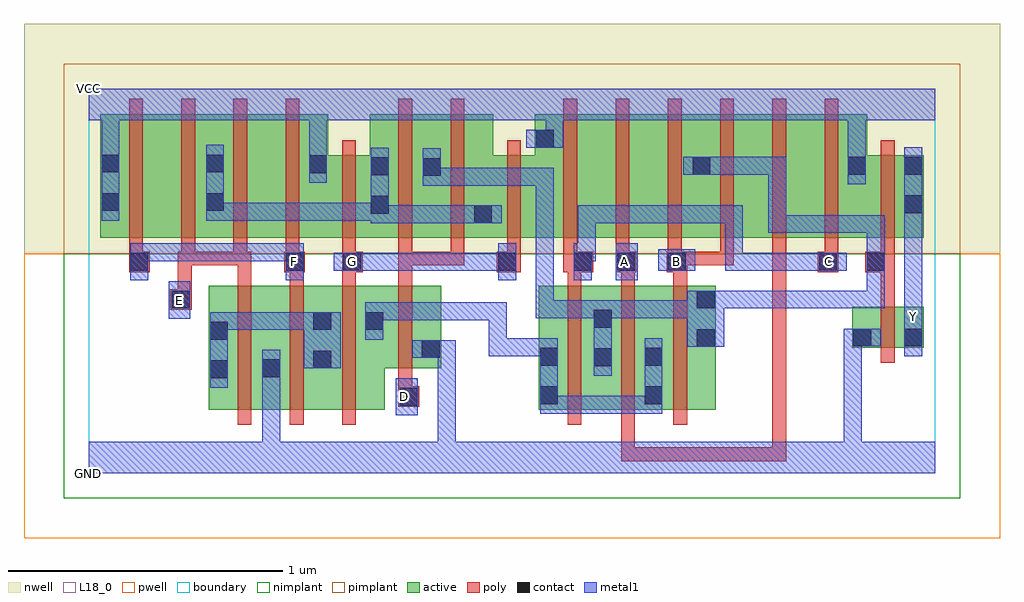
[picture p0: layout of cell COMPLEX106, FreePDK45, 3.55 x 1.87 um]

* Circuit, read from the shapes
.subckt COMPLEX106 A B C D E F G GND VCC Y
M1 GND E n1 VSUBS nfet w=0.45u l=0.05u
M2 n1 F GND VSUBS nfet w=0.45u l=0.05u
M3 n2 G n1 VSUBS nfet w=0.45u l=0.05u
M4 GND D n2 VSUBS nfet w=0.3u l=0.05u
M5 n3 C n2 VSUBS nfet w=0.45u l=0.05u
M6 n2 A n3 VSUBS nfet w=0.45u l=0.05u
M7 n3 B n2 VSUBS nfet w=0.45u l=0.05u
M8 Y n3 GND VSUBS nfet w=0.15u l=0.05u
M9 n4 F VCC n5 pfet w=0.45u l=0.05u
M10 n6 E n4 n5 pfet w=0.45u l=0.05u
M11 n7 E n6 n5 pfet w=0.45u l=0.05u
M12 VCC F n7 n5 pfet w=0.45u l=0.05u
M13 n6 G VCC n5 pfet w=0.3u l=0.05u m=2
M14 n3 D n6 n5 pfet w=0.45u l=0.05u m=2
M15 n8 C VCC n5 pfet w=0.45u l=0.05u
M16 n9 A n8 n5 pfet w=0.45u l=0.05u
M17 n3 B n9 n5 pfet w=0.45u l=0.05u
M18 n10 B n3 n5 pfet w=0.45u l=0.05u
M19 n11 A n10 n5 pfet w=0.45u l=0.05u
M20 VCC C n11 n5 pfet w=0.45u l=0.05u
M21 Y n3 VCC n5 pfet w=0.3u l=0.05u
.ends

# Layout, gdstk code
import gdstk
lib = gdstk.Library(unit=1e-6, precision=1e-09)
def R(c, l, rs):  # rectangles x0, y0, x1, y1
    for r in rs: c.add(gdstk.rectangle(r[:2], r[2:], *l))
def A(c, l, x, y, w, h, nx, ny, dx, dy):  # array of equal rectangles
    R(c, l, [(x+i*dx, y+j*dy, x+i*dx+w, y+j*dy+h) for i in range(nx) for j in range(ny)])
active = (1, 0)
pwell = (2, 0)
nwell = (3, 0)
nimplant = (4, 0)
pimplant = (5, 0)
poly = (9, 0)
contact = (10, 0)
metal1 = (11, 0)
L18_0 = (18, 0)
boundary = (235, 0)

complex106 = lib.new_cell('COMPLEX106')
R(complex106, active, [(0.437,0.232,0.512,0.682), (0.437,0.232,0.702,0.682), (0.627,0.232,0.887,0.682), (0.812,0.232,0.887,0.682), (0.812,0.232,1.077,0.682), (1.002,0.232,1.077,0.682), (1.637,0.232,1.712,0.682), (1.637,0.232,1.907,0.682), (1.832,0.232,2.092,0.682), (2.017,0.232,2.282,0.682), (2.017,0.232,2.092,0.547), (2.207,0.232,2.282,0.682), (0.627,0.257,0.702,0.542), (1.832,0.295,1.907,0.682), (1.002,0.382,1.282,0.682), (1.207,0.382,1.282,0.625), (2.777,0.457,2.852,0.607), (2.777,0.457,3.037,0.607), (2.962,0.457,3.037,0.607), (0.042,0.857,0.117,1.307), (0.042,0.857,0.267,1.307), (0.267,0.857,0.497,1.307), (0.422,0.857,0.647,1.307), (0.422,0.857,0.497,1.2), (0.647,0.857,0.872,1.307), (0.797,0.857,1.097,1.157), (1.022,0.857,1.097,1.2), (1.022,0.857,1.285,1.307), (1.21,0.857,1.285,1.2), (1.21,0.857,1.472,1.307), (1.397,0.857,1.697,1.157), (1.622,0.857,1.847,1.307), (1.847,0.857,2.037,1.307), (2.037,0.857,2.267,1.307), (2.192,0.857,2.417,1.307), (2.192,0.857,2.267,1.2), (2.417,0.857,2.607,1.307), (2.607,0.857,2.832,1.307), (2.757,0.857,3.037,1.157), (2.962,0.857,3.037,1.157), (1.397,0.905,1.472,1.07), (1.622,0.995,1.697,1.307), (0.797,1.007,0.872,1.307), (2.757,1.007,2.832,1.157)])
R(complex106, pwell, [(-0.235,-0.235,3.315,0.8)])
R(complex106, nwell, [(-0.235,0.8,3.315,1.635)])
R(complex106, nimplant, [(-0.09,-0.09,3.17,0.8)])
R(complex106, pimplant, [(-0.09,0.8,3.17,1.49)])
A(complex106, poly, 0.542, 0.177, 0.05, 0.56, 3, 1, 0.19, 0)
A(complex106, poly, 0.147, 0.757, 0.05, 0.095, 4, 1, 0.19, 0)
A(complex106, poly, 1.317, 0.757, 0.05, 0.095, 3, 1, 0.205, 0)
A(complex106, poly, 1.917, 0.757, 0.05, 0.095, 3, 1, 0.19, 0)
A(complex106, poly, 0.147, 0.802, 0.05, 0.56, 4, 1, 0.19, 0)
A(complex106, poly, 1.727, 0.802, 0.05, 0.56, 6, 1, 0.19, 0)
R(complex106, poly, [(1.937,0.045,1.987,0.095), (1.937,0.045,1.987,0.095), (1.937,0.045,1.987,0.095), (1.937,0.045,2.12,0.095), (1.937,0.045,1.987,0.227), (2.07,0.045,2.12,0.095), (2.07,0.045,2.405,0.095), (2.355,0.045,2.405,0.095), (2.355,0.045,2.405,0.095), (2.355,0.045,2.405,0.095), (2.355,0.045,2.405,0.095), (2.355,0.045,2.405,0.095), (2.355,0.045,2.537,0.095), (2.487,0.045,2.537,0.852), (2.487,0.045,2.537,0.095), (2.487,0.045,2.537,0.095), (2.487,0.045,2.537,0.095), (2.487,0.045,2.537,0.095), (2.487,0.045,2.537,0.095), (2.487,0.045,2.537,0.095), (2.487,0.045,2.537,0.095), (2.487,0.045,2.537,0.095), (2.487,0.045,2.537,0.095), (2.487,0.045,2.537,0.095), (2.487,0.045,2.537,0.095), (1.742,0.177,1.792,0.737), (1.937,0.177,1.987,0.737), (2.127,0.177,2.177,0.737), (1.127,0.242,1.202,0.317), (1.127,0.267,1.177,0.377), (1.127,0.327,1.177,0.737), (2.882,0.402,2.932,0.662), (0.297,0.595,0.375,0.67), (2.882,0.612,2.932,0.782), (0.325,0.62,0.375,0.807), (0.542,0.687,0.592,0.807), (0.732,0.687,0.782,0.782), (0.922,0.687,0.972,0.782), (1.127,0.687,1.177,0.807), (1.742,0.687,1.792,0.782), (1.937,0.687,1.987,0.782), (2.127,0.687,2.177,0.782), (0.147,0.732,0.222,0.807), (0.712,0.732,0.787,0.807), (0.922,0.732,0.997,0.807), (1.485,0.732,1.572,0.807), (1.727,0.732,1.835,0.807), (1.917,0.732,1.992,0.807), (2.102,0.732,2.177,0.807), (2.652,0.732,2.727,0.807), (2.825,0.732,2.932,0.807), (0.325,0.757,0.387,0.807), (0.337,0.757,0.387,0.807), (0.337,0.757,0.387,0.807), (0.337,0.757,0.387,0.807), (0.337,0.757,0.387,0.807), (0.337,0.757,0.577,0.807), (0.527,0.757,0.592,0.807), (0.922,0.757,0.972,0.852), (1.127,0.757,1.177,0.852), (1.127,0.757,1.177,0.807), (1.127,0.757,1.177,0.807), (1.127,0.757,1.177,0.807), (1.127,0.757,1.367,0.807), (1.317,0.757,1.367,0.807), (2.127,0.757,2.177,0.807), (2.127,0.757,2.177,0.807), (2.127,0.757,2.347,0.807), (2.297,0.757,2.347,0.807), (2.677,0.757,2.727,0.852), (2.882,0.757,2.932,0.852), (0.922,0.802,0.972,1.212), (1.127,0.802,1.177,1.362), (1.317,0.802,1.367,1.362), (1.522,0.802,1.572,1.212), (2.882,0.802,2.932,1.212)])
R(complex106, contact, [(1.132,0.247,1.197,0.312), (1.642,0.252,1.707,0.317), (2.022,0.252,2.087,0.317), (0.442,0.347,0.507,0.412), (0.632,0.35,0.697,0.415), (0.817,0.382,0.882,0.447), (1.837,0.39,1.902,0.455), (1.642,0.392,1.707,0.457), (2.022,0.392,2.087,0.457), (1.212,0.42,1.277,0.485), (2.212,0.46,2.277,0.525), (2.782,0.462,2.847,0.527), (2.967,0.462,3.032,0.527), (0.442,0.487,0.507,0.552), (0.817,0.522,0.882,0.587), (1.007,0.522,1.072,0.587), (1.837,0.53,1.902,0.595), (0.302,0.6,0.367,0.665), (2.212,0.6,2.277,0.665), (0.152,0.737,0.217,0.802), (0.717,0.737,0.782,0.802), (0.927,0.737,0.992,0.802), (1.49,0.737,1.555,0.802), (1.765,0.737,1.83,0.802), (1.922,0.737,1.987,0.802), (2.107,0.737,2.172,0.802), (2.657,0.737,2.722,0.802), (2.83,0.737,2.895,0.802), (1.402,0.91,1.467,0.975), (1.027,0.945,1.092,1.01), (2.967,0.947,3.032,1.012), (0.047,0.955,0.112,1.02), (0.427,0.955,0.492,1.02), (1.215,1.082,1.28,1.147), (1.027,1.085,1.092,1.15), (2.197,1.087,2.262,1.152), (2.762,1.087,2.827,1.152), (2.967,1.087,3.032,1.152), (0.802,1.092,0.867,1.157), (0.047,1.095,0.112,1.16), (0.427,1.095,0.492,1.16), (1.627,1.185,1.692,1.25)])
R(complex106, metal1, [(0,0,3.08,0.115), (0.632,0.05,0.697,0.38), (1.27,0.05,1.335,0.115), (1.27,0.05,1.335,0.115), (1.27,0.05,1.335,0.115), (1.27,0.05,1.335,0.115), (1.27,0.05,1.335,0.115), (1.27,0.05,1.335,0.115), (1.27,0.05,1.335,0.485), (2.747,0.05,2.812,0.115), (2.747,0.05,2.812,0.115), (2.747,0.05,2.812,0.527), (1.117,0.212,1.197,0.347), (1.642,0.217,1.707,0.492), (1.642,0.217,1.845,0.282), (1.78,0.217,1.845,0.282), (1.78,0.217,1.845,0.282), (1.78,0.217,1.845,0.282), (1.78,0.217,1.982,0.282), (1.917,0.217,1.982,0.282), (1.917,0.217,2.087,0.282), (2.022,0.217,2.087,0.492), (0.442,0.312,0.507,0.587), (0.632,0.315,0.697,0.45), (0.632,0.315,0.697,0.38), (0.632,0.315,0.697,0.38), (0.632,0.315,0.697,0.38), (0.632,0.315,0.697,0.38), (1.837,0.355,1.902,0.63), (0.782,0.382,0.917,0.587), (1.177,0.42,1.335,0.485), (1.455,0.427,1.52,0.492), (1.455,0.427,1.692,0.492), (1.455,0.427,1.52,0.622), (1.627,0.427,1.692,0.492), (1.627,0.427,1.707,0.492), (2.967,0.427,3.032,0.562), (2.177,0.46,2.312,0.665), (2.747,0.462,2.812,0.527), (2.747,0.462,2.812,0.527), (2.747,0.462,2.812,0.527), (2.747,0.462,2.812,0.527), (2.747,0.462,2.812,0.527), (2.747,0.462,2.812,0.527), (2.747,0.462,2.882,0.527), (1.007,0.487,1.072,0.622), (2.967,0.497,3.032,0.567), (2.967,0.502,3.032,0.637), (0.442,0.522,0.507,0.587), (0.442,0.522,0.507,0.587), (0.442,0.522,0.645,0.587), (0.58,0.522,0.645,0.587), (0.58,0.522,0.645,0.587), (0.58,0.522,0.645,0.587), (0.58,0.522,0.847,0.587), (1.007,0.557,1.28,0.622), (1.215,0.557,1.28,0.622), (1.215,0.557,1.28,0.622), (1.215,0.557,1.28,0.622), (1.215,0.557,1.417,0.622), (1.352,0.557,1.417,0.622), (1.352,0.557,1.52,0.622), (1.455,0.557,1.52,0.622), (0.292,0.562,0.37,0.7), (1.627,0.565,1.692,0.63), (1.627,0.565,1.692,0.63), (1.627,0.565,1.692,0.63), (1.627,0.565,1.692,0.63), (1.627,0.565,1.692,0.63), (1.627,0.565,1.83,0.63), (1.627,0.565,1.692,1.112), (1.765,0.565,1.83,0.63), (1.765,0.565,1.902,0.63), (1.837,0.565,1.982,0.63), (1.917,0.565,1.982,0.63), (1.917,0.565,2.09,0.63), (2.025,0.565,2.09,0.63), (2.025,0.565,2.242,0.63), (2.177,0.565,2.242,0.63), (2.177,0.565,2.242,0.63), (2.967,0.572,3.032,0.977), (2.247,0.6,2.4,0.665), (2.335,0.6,2.4,0.665), (2.335,0.6,2.537,0.665), (2.472,0.6,2.537,0.665), (2.472,0.6,2.537,0.665), (2.472,0.6,2.537,0.665), (2.472,0.6,2.675,0.665), (2.61,0.6,2.675,0.665), (2.61,0.6,2.675,0.665), (2.61,0.6,2.675,0.665), (2.61,0.6,2.895,0.665), (2.83,0.6,2.895,0.665), (2.83,0.6,2.895,0.837), (0.152,0.702,0.217,0.837), (0.717,0.702,0.782,0.837), (1.49,0.702,1.555,0.837), (1.765,0.702,1.83,0.837), (1.917,0.702,1.997,0.837), (2.83,0.702,2.895,0.837), (0.892,0.737,1.027,0.802), (0.962,0.737,1.027,0.802), (0.962,0.737,1.027,0.802), (0.962,0.737,1.28,0.802), (1.215,0.737,1.28,0.802), (1.215,0.737,1.28,0.802), (1.215,0.737,1.28,0.802), (1.215,0.737,1.417,0.802), (1.352,0.737,1.417,0.802), (1.352,0.737,1.417,0.802), (1.352,0.737,1.417,0.802), (1.352,0.737,1.555,0.802), (2.072,0.737,2.207,0.815), (2.315,0.737,2.38,0.802), (2.315,0.737,2.38,0.802), (2.315,0.737,2.38,0.802), (2.315,0.737,2.537,0.802), (2.315,0.737,2.38,0.975), (2.472,0.737,2.537,0.802), (2.472,0.737,2.537,0.802), (2.472,0.737,2.537,0.802), (2.472,0.737,2.675,0.802), (2.61,0.737,2.675,0.802), (2.61,0.737,2.687,0.802), (2.622,0.737,2.757,0.802), (0.152,0.772,0.217,0.837), (0.152,0.772,0.217,0.837), (0.152,0.772,0.355,0.837), (0.29,0.772,0.355,0.837), (0.29,0.772,0.355,0.837), (0.29,0.772,0.355,0.837), (0.29,0.772,0.507,0.837), (0.442,0.772,0.507,0.837), (0.442,0.772,0.645,0.837), (0.58,0.772,0.645,0.837), (0.58,0.772,0.782,0.837), (1.765,0.772,1.845,0.837), (1.78,0.772,1.845,0.837), (1.78,0.772,1.845,0.975), (2.83,0.772,2.895,0.837), (2.83,0.772,2.895,0.837), (2.83,0.772,2.895,0.94), (2.472,0.875,2.537,0.94), (2.472,0.875,2.537,0.94), (2.472,0.875,2.537,0.94), (2.472,0.875,2.675,0.94), (2.472,0.875,2.537,1.152), (2.61,0.875,2.675,0.94), (2.61,0.875,2.675,0.94), (2.61,0.875,2.675,0.94), (2.61,0.875,2.895,0.94), (2.83,0.875,2.895,0.94), (1.027,0.91,1.092,1.185), (1.027,0.91,1.28,0.975), (1.215,0.91,1.28,0.975), (1.215,0.91,1.28,0.975), (1.215,0.91,1.28,0.975), (1.215,0.91,1.417,0.975), (1.352,0.91,1.417,0.975), (1.352,0.91,1.432,0.975), (1.367,0.91,1.502,0.975), (1.78,0.91,1.845,0.975), (1.78,0.91,1.982,0.975), (1.917,0.91,1.982,0.975), (1.917,0.91,2.09,0.975), (2.025,0.91,2.09,0.975), (2.025,0.91,2.242,0.975), (2.177,0.91,2.242,0.975), (2.177,0.91,2.38,0.975), (2.315,0.91,2.38,0.975), (2.967,0.912,3.032,1.187), (0.047,0.92,0.112,1.195), (0.427,0.92,0.492,1.195), (0.427,0.92,0.492,0.985), (0.427,0.92,0.492,0.985), (0.427,0.92,0.645,0.985), (0.58,0.92,0.645,0.985), (0.58,0.92,0.645,0.985), (0.58,0.92,0.645,0.985), (0.58,0.92,0.782,0.985), (0.717,0.92,0.782,0.985), (0.717,0.92,0.782,0.985), (0.717,0.92,0.782,0.985), (0.717,0.92,1.092,0.985), (1.215,1.047,1.28,1.182), (1.215,1.047,1.417,1.112), (1.352,1.047,1.417,1.112), (1.352,1.047,1.417,1.112), (1.352,1.047,1.417,1.112), (1.352,1.047,1.692,1.112), (1.627,1.047,1.692,1.112), (1.627,1.047,1.692,1.112), (1.627,1.047,1.692,1.112), (2.762,1.052,2.827,1.187), (0.802,1.057,0.867,1.192), (2.162,1.087,2.297,1.152), (2.232,1.087,2.38,1.152), (2.315,1.087,2.38,1.152), (2.315,1.087,2.537,1.152), (2.472,1.087,2.537,1.152), (2.762,1.122,2.827,1.35), (0.802,1.127,0.867,1.35), (0.047,1.13,0.112,1.35), (1.592,1.185,1.727,1.25), (1.662,1.185,1.727,1.35), (0,1.285,3.08,1.4)])
R(complex106, L18_0, [(0,0,3.08,0.115), (0.632,0.05,0.697,0.38), (1.27,0.05,1.335,0.115), (1.27,0.05,1.335,0.115), (1.27,0.05,1.335,0.115), (1.27,0.05,1.335,0.115), (1.27,0.05,1.335,0.115), (1.27,0.05,1.335,0.115), (1.27,0.05,1.335,0.485), (2.747,0.05,2.812,0.115), (2.747,0.05,2.812,0.115), (2.747,0.05,2.812,0.527), (1.117,0.212,1.197,0.347), (1.117,0.247,1.182,0.312), (0.632,0.315,0.697,0.45), (0.632,0.315,0.697,0.38), (0.632,0.315,0.697,0.38), (0.632,0.315,0.697,0.38), (0.632,0.315,0.697,0.38), (1.177,0.42,1.335,0.485), (2.967,0.427,3.032,0.562), (2.747,0.462,2.812,0.527), (2.747,0.462,2.812,0.527), (2.747,0.462,2.812,0.527), (2.747,0.462,2.812,0.527), (2.747,0.462,2.812,0.527), (2.747,0.462,2.812,0.527), (2.747,0.462,2.882,0.527), (2.967,0.497,3.032,0.567), (2.967,0.502,3.032,0.637), (2.967,0.537,3.032,0.602), (0.292,0.562,0.37,0.7), (2.967,0.572,3.032,0.977), (0.297,0.597,0.362,0.662), (0.152,0.702,0.217,0.837), (0.717,0.702,0.782,0.837), (1.49,0.702,1.555,0.837), (1.765,0.702,1.83,0.837), (1.917,0.702,1.997,0.837), (0.717,0.737,0.782,0.802), (0.892,0.737,1.027,0.802), (0.927,0.737,0.992,0.802), (0.962,0.737,1.027,0.802), (0.962,0.737,1.027,0.802), (0.962,0.737,1.28,0.802), (1.215,0.737,1.28,0.802), (1.215,0.737,1.28,0.802), (1.215,0.737,1.28,0.802), (1.215,0.737,1.417,0.802), (1.352,0.737,1.417,0.802), (1.352,0.737,1.417,0.802), (1.352,0.737,1.417,0.802), (1.352,0.737,1.555,0.802), (1.917,0.737,1.982,0.802), (2.072,0.737,2.207,0.815), (2.107,0.737,2.172,0.802), (2.315,0.737,2.38,0.802), (2.315,0.737,2.38,0.802), (2.315,0.737,2.38,0.802), (2.315,0.737,2.38,0.975), (2.315,0.737,2.537,0.802), (2.472,0.737,2.537,0.802), (2.472,0.737,2.537,0.802), (2.472,0.737,2.537,0.802), (2.472,0.737,2.675,0.802), (2.61,0.737,2.675,0.802), (2.61,0.737,2.687,0.802), (2.622,0.737,2.757,0.802), (2.657,0.737,2.722,0.802), (0.152,0.772,0.217,0.837), (0.152,0.772,0.217,0.837), (0.152,0.772,0.355,0.837), (0.29,0.772,0.355,0.837), (0.29,0.772,0.355,0.837), (0.29,0.772,0.355,0.837), (0.29,0.772,0.507,0.837), (0.442,0.772,0.507,0.837), (0.442,0.772,0.645,0.837), (0.58,0.772,0.645,0.837), (0.58,0.772,0.782,0.837), (1.765,0.772,1.845,0.837), (1.78,0.772,1.845,0.837), (1.78,0.772,1.845,0.975), (1.78,0.91,1.845,0.975), (1.78,0.91,1.982,0.975), (1.917,0.91,1.982,0.975), (1.917,0.91,2.09,0.975), (2.025,0.91,2.09,0.975), (2.025,0.91,2.242,0.975), (2.177,0.91,2.242,0.975), (2.177,0.91,2.38,0.975), (2.315,0.91,2.38,0.975), (2.967,0.912,3.032,1.187), (0.047,0.92,0.112,1.195), (2.762,1.052,2.827,1.187), (0.802,1.057,0.867,1.192), (2.762,1.122,2.827,1.35), (0.802,1.127,0.867,1.35), (0.047,1.13,0.112,1.35), (1.592,1.185,1.727,1.25), (1.662,1.185,1.727,1.35), (0,1.285,3.08,1.4)])
R(complex106, boundary, [(0,0,3.08,1.4)])
complex106.add(gdstk.Label('A', (1.95,0.77), layer=11, texttype=0))
complex106.add(gdstk.Label('B', (2.14,0.77), layer=11, texttype=0))
complex106.add(gdstk.Label('C', (2.69,0.77), layer=11, texttype=0))
complex106.add(gdstk.Label('D', (1.15,0.28), layer=11, texttype=0))
complex106.add(gdstk.Label('E', (0.33,0.63), layer=11, texttype=0))
complex106.add(gdstk.Label('F', (0.75,0.77), layer=11, texttype=0))
complex106.add(gdstk.Label('G', (0.96,0.77), layer=11, texttype=0))
complex106.add(gdstk.Label('Y', (3,0.57), layer=11, texttype=0))
complex106.add(gdstk.Label('VCC', (0,1.4), layer=11, texttype=0))
complex106.add(gdstk.Label('GND', (0,0), layer=11, texttype=0))

lib.write_gds('COMPLEX106.gds')
